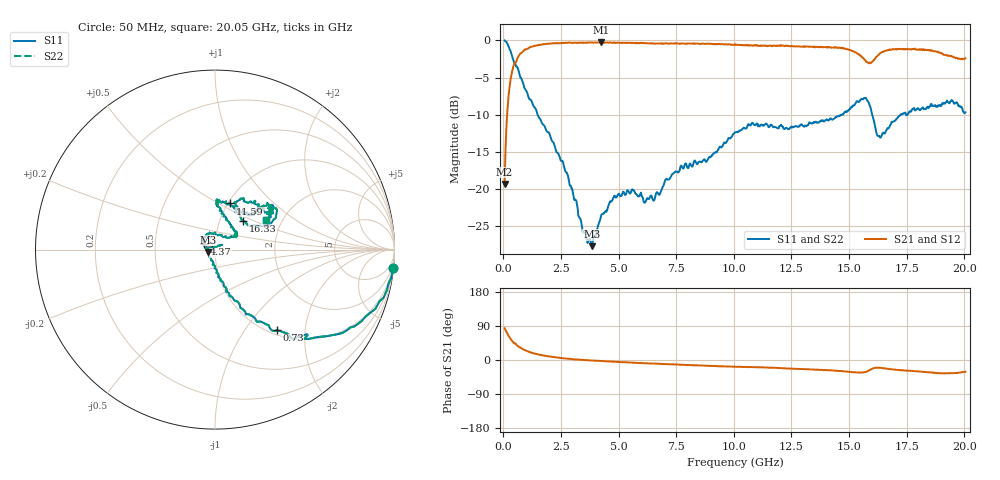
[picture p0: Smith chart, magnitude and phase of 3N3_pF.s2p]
! P/N: 500R07S3R3CV4S
! Measured by Marlon
! Oct. 28, 2003
#	mhz	s	ma	r	50
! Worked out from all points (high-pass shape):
!   1001 points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, 50 MHz to 20.05 GHz, reference 50 ohm
!   highest |S21| = -0.23 dB at 4.25 GHz (marker M1); lowest = -19.3 dB at 50 MHz (marker M2)
!   |S21| within 3 dB of the highest: 456.3 MHz to end of sweep
!   lowest |S11| = -27.7 dB at 3.83 GHz (marker M3), VSWR 1.09, Z = 46.2 - j1.21 ohm
!   |S11| at or under -10 dB: 1.485 GHz to 14.67 GHz (13.19 GHz wide, 163 % of centre); 16.01 GHz to 17.22 GHz (1.218 GHz wide, 7.33 % of centre); 17.47729 GHz to 17.51856 GHz (41.27 MHz wide, 0.236 % of centre)
!   |S22| runs from -27.7 to 0.0 dB; largest |S21 - S12| = 0
!   S11 on the Smith chart (normalised r, x): 50 MHz: 0, -19; 730 MHz: 1.08, -1.42; 4.37 GHz: 0.88, +0.05; 11.59 GHz: 1.02, +0.57; 16.33 GHz: 1.29, +0.44; 20.05 GHz: 1.66, +0.60
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50  1 -6.0  0.1085 83.9  0.1085 83.9  1 -6.0
210  0.9183 -24.0  0.4035 65.1  0.4035 65.1  0.9183 -24.0
310  0.8481 -33.2  0.5472 55.5  0.5472 55.5  0.8481 -33.2
730  0.5652 -52.6  0.815 32.8  0.815 32.8  0.5652 -52.6
1530  0.3055 -68.6  0.9341 14.3  0.9341 14.3  0.3055 -68.6
2650  0.1378 -82.3  0.964 4.5  0.964 4.5  0.1378 -82.3
3390  0.05815 -111.0  0.9658 0.5  0.9658 0.5  0.05815 -111.0
3830  0.04138 -161.6  0.9677 -1.4  0.9677 -1.4  0.04138 -161.6
4250  0.06741 159.4  0.9734 -2.3  0.9734 -2.3  0.06741 159.4
4370  0.06927 154.4  0.9668 -3.1  0.9668 -3.1  0.06927 154.4
4910  0.08842 133.3  0.9652 -5.0  0.9652 -5.0  0.08842 133.3
6730  0.0924 50.6  0.9546 -9.6  0.9546 -9.6  0.0924 50.6
8190  0.1414 36.7  0.9535 -13.8  0.9535 -13.8  0.1414 36.7
10050  0.2412 86.2  0.9441 -17.5  0.9441 -17.5  0.2412 86.2
11590  0.2697 72.2  0.9237 -20.0  0.9237 -20.0  0.2697 72.2
13390  0.2762 45.2  0.9061 -25.0  0.9061 -25.0  0.2762 45.2
14650  0.3131 43.3  0.8871 -29.0  0.8871 -29.0  0.3131 43.3
15650  0.4106 34.0  0.7489 -32.5  0.7489 -32.5  0.4106 34.0
16330  0.2255 45.8  0.8165 -20.4  0.8165 -20.4  0.2255 45.8
16730  0.2585 65.9  0.8655 -23.6  0.8655 -23.6  0.2585 65.9
18810  0.3585 33.0  0.8401 -34.5  0.8401 -34.5  0.3585 33.0
20050  0.3284 29.6  0.7585 -31.0  0.7585 -31.0  0.3284 29.6
